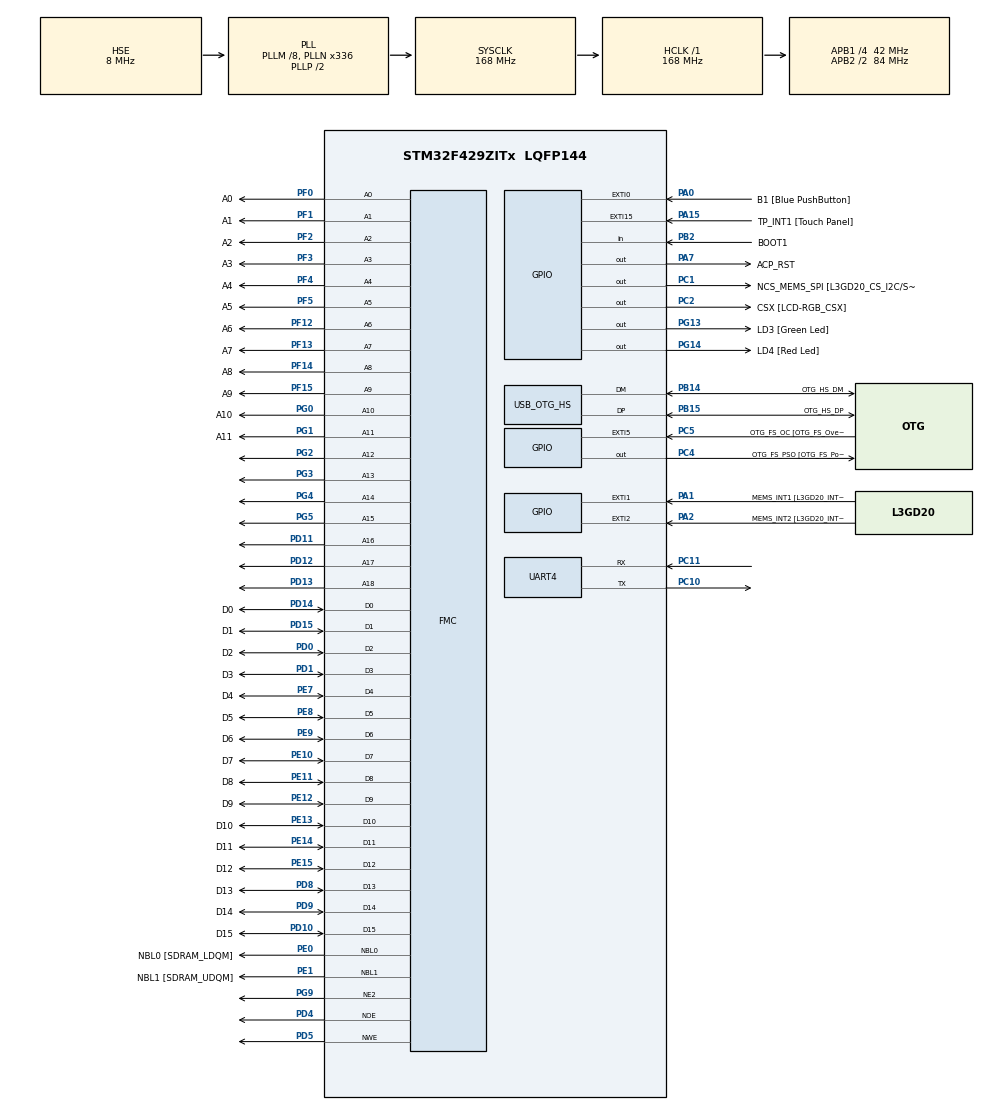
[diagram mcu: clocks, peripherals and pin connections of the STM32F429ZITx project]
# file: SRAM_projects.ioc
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FMC.WriteOperation1=FMC_WRITE_OPERATION_ENABLE
Mcu.Family=STM32F4
Mcu.Name=STM32F429ZITx
Mcu.Package=LQFP144
NVIC.OTG_HS_IRQn=true\:0\:0\:false\:false\:true\:false\:true
NVIC.PriorityGroup=NVIC_PRIORITYGROUP_0
NVIC.TIM2_IRQn=true\:0\:0\:false\:false\:true\:true\:true
NVIC.UART4_IRQn=true\:0\:0\:false\:false\:true\:true\:true
PA0/WKUP.GPIO_Label=B1 [Blue PushButton]
PA0/WKUP.GPIO_ModeDefaultEXTI=GPIO_MODE_EVT_RISING
PA0/WKUP.GPIO_PuPd=GPIO_NOPULL
PA0/WKUP.Signal=GPXTI0
PA1.GPIO_Label=MEMS_INT1 [L3GD20_INT1]
PA1.GPIO_ModeDefaultEXTI=GPIO_MODE_EVT_RISING
PA1.GPIO_PuPd=GPIO_NOPULL
PA1.Signal=GPXTI1
PA10.GPIO_Label=STLINK_TX [STM32F103CBT6_PA2]
PA10.Signal=USART1_RX
PA11.GPIO_Label=R4
PA11.GPIO_Mode=GPIO_MODE_AF_PP
PA11.GPIO_PuPd=GPIO_NOPULL
PA11.GPIO_Speed=GPIO_SPEED_FREQ_LOW
PA11.Signal=LTDC_R4
PA12.GPIO_Label=R5
PA12.GPIO_Mode=GPIO_MODE_AF_PP
PA12.GPIO_PuPd=GPIO_NOPULL
PA12.GPIO_Speed=GPIO_SPEED_FREQ_LOW
PA12.Signal=LTDC_R5
PA13.GPIO_Label=SWDIO
PA13.Mode=Serial_Wire
PA13.Signal=SYS_JTMS-SWDIO
PA14.GPIO_Label=SWCLK
PA14.Mode=Serial_Wire
PA14.Signal=SYS_JTCK-SWCLK
PA15.GPIO_Label=TP_INT1 [Touch Panel]
PA15.GPIO_ModeDefaultEXTI=GPIO_MODE_EVT_RISING
PA15.GPIO_PuPd=GPIO_NOPULL
PA15.Signal=GPXTI15
PA2.GPIO_Label=MEMS_INT2 [L3GD20_INT2]
PA2.GPIO_ModeDefaultEXTI=GPIO_MODE_EVT_RISING
PA2.GPIO_PuPd=GPIO_NOPULL
PA2.Signal=GPXTI2
PA3.GPIO_Label=B5
PA3.GPIO_Mode=GPIO_MODE_AF_PP
PA3.GPIO_PuPd=GPIO_NOPULL
PA3.GPIO_Speed=GPIO_SPEED_FREQ_LOW
PA3.Signal=LTDC_B5
PA4.GPIO_Label=VSYNC
PA4.GPIO_Mode=GPIO_MODE_AF_PP
PA4.GPIO_PuPd=GPIO_NOPULL
PA4.GPIO_Speed=GPIO_SPEED_FREQ_LOW
PA4.Signal=LTDC_VSYNC
PA6.GPIO_Label=G2
PA6.GPIO_Mode=GPIO_MODE_AF_PP
PA6.GPIO_PuPd=GPIO_NOPULL
PA6.GPIO_Speed=GPIO_SPEED_FREQ_LOW
PA6.Signal=LTDC_G2
PA7.GPIO_Label=ACP_RST
PA7.GPIO_Mode=GPIO_MODE_OUTPUT_PP
PA7.GPIO_PuPd=GPIO_NOPULL
PA7.GPIO_Speed=GPIO_SPEED_FREQ_LOW
PA7.Signal=GPIO_Output
PA8.GPIO_Label=I2C3_SCL [ACP/RF_SCL]
PA8.GPIO_Mode=GPIO_MODE_AF_OD
PA8.GPIO_PuPd=GPIO_NOPULL
PA8.GPIO_Speed=GPIO_SPEED_FREQ_LOW
PA8.Signal=I2C3_SCL
PA9.GPIO_Label=STLINK_RX [STM32F103CBT6_PA3]
PA9.Signal=USART1_TX
PB0.GPIO_Label=R3
PB0.GPIO_Mode=GPIO_MODE_AF_PP
PB0.GPIO_PuPd=GPIO_NOPULL
PB0.GPIO_Speed=GPIO_SPEED_FREQ_LOW
PB0.Signal=LTDC_R3
PB1.GPIO_Label=R6
PB1.GPIO_Mode=GPIO_MODE_AF_PP
PB1.GPIO_PuPd=GPIO_NOPULL
PB1.GPIO_Speed=GPIO_SPEED_FREQ_LOW
PB1.Signal=LTDC_R6
PB10.GPIO_Label=G4
PB10.GPIO_Mode=GPIO_MODE_AF_PP
PB10.GPIO_PuPd=GPIO_NOPULL
PB10.GPIO_Speed=GPIO_SPEED_FREQ_LOW
PB10.Signal=LTDC_G4
PB11.GPIO_Label=G5
PB11.GPIO_Mode=GPIO_MODE_AF_PP
PB11.GPIO_PuPd=GPIO_NOPULL
PB11.GPIO_Speed=GPIO_SPEED_FREQ_LOW
PB11.Signal=LTDC_G5
PB12.GPIO_Label=OTG_HS_ID
PB12.GPIO_Mode=GPIO_MODE_AF_PP
PB12.GPIO_PuPd=GPIO_NOPULL
PB12.GPIO_Speed=GPIO_SPEED_FREQ_LOW
PB12.Signal=USB_OTG_HS_ID
PB13.GPIO_Label=VBUS_HS
PB13.GPIO_Mode=GPIO_MODE_INPUT
PB13.GPIO_PuPd=GPIO_NOPULL
PB13.Signal=USB_OTG_HS_VBUS
PB14.GPIO_Label=OTG_HS_DM
PB14.GPIO_Mode=GPIO_MODE_AF_PP
PB14.GPIO_PuPd=GPIO_NOPULL
PB14.GPIO_Speed=GPIO_SPEED_FREQ_LOW
PB14.Mode=Device_Only_FS
PB14.Signal=USB_OTG_HS_DM
PB15.GPIO_Label=OTG_HS_DP
PB15.GPIO_Mode=GPIO_MODE_AF_PP
PB15.GPIO_PuPd=GPIO_NOPULL
PB15.GPIO_Speed=GPIO_SPEED_FREQ_LOW
PB15.Mode=Device_Only_FS
PB15.Signal=USB_OTG_HS_DP
PB2/BOOT1.GPIO_Label=BOOT1
PB2/BOOT1.GPIO_Mode=GPIO_MODE_INPUT
PB2/BOOT1.GPIO_PuPd=GPIO_NOPULL
PB2/BOOT1.Signal=GPIO_Input
PB5.GPIO_Label=SDCKE1
PB5.GPIO_Mode=GPIO_MODE_AF_PP
PB5.GPIO_PuPd=GPIO_NOPULL
PB5.GPIO_Speed=GPIO_SPEED_FREQ_VERY_HIGH
PB5.Signal=FMC_SDCKE1
PB6.GPIO_Label=SDNE1 [SDRAM_CS]
PB6.GPIO_Mode=GPIO_MODE_AF_PP
PB6.GPIO_PuPd=GPIO_NOPULL
PB6.GPIO_Speed=GPIO_SPEED_FREQ_VERY_HIGH
PB6.Signal=FMC_SDNE1
PB8.GPIO_Label=B6
PB8.GPIO_Mode=GPIO_MODE_AF_PP
PB8.GPIO_PuPd=GPIO_NOPULL
PB8.GPIO_Speed=GPIO_SPEED_FREQ_LOW
PB8.Signal=LTDC_B6
PB9.GPIO_Label=B7
PB9.GPIO_Mode=GPIO_MODE_AF_PP
PB9.GPIO_PuPd=GPIO_NOPULL
PB9.GPIO_Speed=GPIO_SPEED_FREQ_LOW
PB9.Signal=LTDC_B7
PC0.GPIO_Label=SDNWE
PC0.GPIO_Mode=GPIO_MODE_AF_PP
PC0.GPIO_PuPd=GPIO_NOPULL
PC0.GPIO_Speed=GPIO_SPEED_FREQ_VERY_HIGH
PC0.Signal=FMC_SDNWE
PC1.GPIO_Label=NCS_MEMS_SPI [L3GD20_CS_I2C/SPI]
PC1.GPIO_Mode=GPIO_MODE_OUTPUT_PP
PC1.GPIO_PuPd=GPIO_NOPULL
PC1.GPIO_Speed=GPIO_SPEED_FREQ_LOW
PC1.Signal=GPIO_Output
PC10.Mode=Asynchronous
PC10.Signal=UART4_TX
PC11.Mode=Asynchronous
PC11.Signal=UART4_RX
PC14/OSC32_IN.GPIO_Label=PC14-OSC32_IN
PC14/OSC32_IN.Signal=RCC_OSC32_IN
PC15/OSC32_OUT.GPIO_Label=PC15-OSC32_OUT
PC15/OSC32_OUT.Signal=RCC_OSC32_OUT
PC2.GPIO_Label=CSX [LCD-RGB_CSX]
PC2.GPIO_Mode=GPIO_MODE_OUTPUT_PP
PC2.GPIO_PuPd=GPIO_NOPULL
PC2.GPIO_Speed=GPIO_SPEED_FREQ_LOW
PC2.Signal=GPIO_Output
PC4.GPIO_Label=OTG_FS_PSO [OTG_FS_PowerSwitchOn]
PC4.GPIO_Mode=GPIO_MODE_OUTPUT_PP
PC4.GPIO_PuPd=GPIO_NOPULL
PC4.GPIO_Speed=GPIO_SPEED_FREQ_LOW
PC4.Signal=GPIO_Output
PC5.GPIO_Label=OTG_FS_OC [OTG_FS_OverCurrent]
PC5.GPIO_ModeDefaultEXTI=GPIO_MODE_EVT_RISING
PC5.Signal=GPXTI5
PC6.GPIO_Label=HSYNC
PC6.GPIO_Mode=GPIO_MODE_AF_PP
PC6.GPIO_PuPd=GPIO_NOPULL
PC6.GPIO_Speed=GPIO_SPEED_FREQ_LOW
PC6.Signal=LTDC_HSYNC
PC7.GPIO_Label=G6
PC7.GPIO_Mode=GPIO_MODE_AF_PP
PC7.GPIO_PuPd=GPIO_NOPULL
PC7.GPIO_Speed=GPIO_SPEED_FREQ_LOW
PC7.Signal=LTDC_G6
PC9.GPIO_Label=I2C3_SDA [ACP/RF_SDA]
PC9.GPIO_Mode=GPIO_MODE_AF_OD
PC9.GPIO_PuPd=GPIO_NOPULL
PC9.GPIO_Speed=GPIO_SPEED_FREQ_LOW
PC9.Signal=I2C3_SDA
PD0.GPIO_Label=D2
PD0.GPIO_Mode=GPIO_MODE_AF_PP
PD0.GPIO_PuPd=GPIO_PULLUP
PD0.GPIO_Speed=GPIO_SPEED_FREQ_VERY_HIGH
PD0.Signal=FMC_D2_DA2
PD1.GPIO_Label=D3
PD1.GPIO_Mode=GPIO_MODE_AF_PP
PD1.GPIO_PuPd=GPIO_PULLUP
PD1.GPIO_Speed=GPIO_SPEED_FREQ_VERY_HIGH
PD1.Signal=FMC_D3_DA3
PD10.GPIO_Label=D15
PD10.GPIO_Mode=GPIO_MODE_AF_PP
PD10.GPIO_PuPd=GPIO_PULLUP
PD10.GPIO_Speed=GPIO_SPEED_FREQ_VERY_HIGH
PD10.Signal=FMC_D15_DA15
PD11.GPIO_PuPd=GPIO_PULLUP
PD11.Signal=FMC_A16_CLE
PD12.GPIO_PuPd=GPIO_PULLUP
PD12.Signal=FMC_A17_ALE
PD13.GPIO_PuPd=GPIO_PULLUP
PD13.Signal=FMC_A18
PD14.GPIO_Label=D0
PD14.GPIO_Mode=GPIO_MODE_AF_PP
PD14.GPIO_PuPd=GPIO_PULLUP
PD14.GPIO_Speed=GPIO_SPEED_FREQ_VERY_HIGH
PD14.Signal=FMC_D0_DA0
PD15.GPIO_Label=D1
PD15.GPIO_Mode=GPIO_MODE_AF_PP
PD15.GPIO_PuPd=GPIO_PULLUP
PD15.GPIO_Speed=GPIO_SPEED_FREQ_VERY_HIGH
PD15.Signal=FMC_D1_DA1
PD3.GPIO_Label=G7
PD3.GPIO_Mode=GPIO_MODE_AF_PP
PD3.GPIO_PuPd=GPIO_NOPULL
PD3.GPIO_Speed=GPIO_SPEED_FREQ_LOW
PD3.Signal=LTDC_G7
PD4.GPIO_PuPd=GPIO_PULLUP
PD4.Signal=FMC_NOE
PD5.GPIO_PuPd=GPIO_PULLUP
PD5.Signal=FMC_NWE
PD6.GPIO_Label=B2
PD6.GPIO_Mode=GPIO_MODE_AF_PP
PD6.GPIO_PuPd=GPIO_NOPULL
PD6.GPIO_Speed=GPIO_SPEED_FREQ_LOW
PD6.Signal=LTDC_B2
PD8.GPIO_Label=D13
PD8.GPIO_Mode=GPIO_MODE_AF_PP
PD8.GPIO_PuPd=GPIO_PULLUP
PD8.GPIO_Speed=GPIO_SPEED_FREQ_VERY_HIGH
PD8.Signal=FMC_D13_DA13
PD9.GPIO_Label=D14
PD9.GPIO_Mode=GPIO_MODE_AF_PP
PD9.GPIO_PuPd=GPIO_PULLUP
PD9.GPIO_Speed=GPIO_SPEED_FREQ_VERY_HIGH
PD9.Signal=FMC_D14_DA14
PE0.GPIO_Label=NBL0 [SDRAM_LDQM]
PE0.GPIO_Mode=GPIO_MODE_AF_PP
PE0.GPIO_PuPd=GPIO_NOPULL
PE0.GPIO_Speed=GPIO_SPEED_FREQ_VERY_HIGH
PE0.Signal=FMC_NBL0
PE1.GPIO_Label=NBL1 [SDRAM_UDQM]
PE1.GPIO_Mode=GPIO_MODE_AF_PP
PE1.GPIO_PuPd=GPIO_NOPULL
PE1.GPIO_Speed=GPIO_SPEED_FREQ_VERY_HIGH
PE1.Signal=FMC_NBL1
PE10.GPIO_Label=D7
PE10.GPIO_Mode=GPIO_MODE_AF_PP
PE10.GPIO_PuPd=GPIO_PULLUP
PE10.GPIO_Speed=GPIO_SPEED_FREQ_VERY_HIGH
PE10.Signal=FMC_D7_DA7
PE11.GPIO_Label=D8
PE11.GPIO_Mode=GPIO_MODE_AF_PP
PE11.GPIO_PuPd=GPIO_PULLUP
PE11.GPIO_Speed=GPIO_SPEED_FREQ_VERY_HIGH
PE11.Signal=FMC_D8_DA8
PE12.GPIO_Label=D9
PE12.GPIO_Mode=GPIO_MODE_AF_PP
PE12.GPIO_PuPd=GPIO_PULLUP
PE12.GPIO_Speed=GPIO_SPEED_FREQ_VERY_HIGH
PE12.Signal=FMC_D9_DA9
PE13.GPIO_Label=D10
PE13.GPIO_Mode=GPIO_MODE_AF_PP
PE13.GPIO_PuPd=GPIO_PULLUP
PE13.GPIO_Speed=GPIO_SPEED_FREQ_VERY_HIGH
PE13.Signal=FMC_D10_DA10
PE14.GPIO_Label=D11
PE14.GPIO_Mode=GPIO_MODE_AF_PP
PE14.GPIO_PuPd=GPIO_PULLUP
PE14.GPIO_Speed=GPIO_SPEED_FREQ_VERY_HIGH
PE14.Signal=FMC_D11_DA11
PE15.GPIO_Label=D12
PE15.GPIO_Mode=GPIO_MODE_AF_PP
PE15.GPIO_PuPd=GPIO_PULLUP
PE15.GPIO_Speed=GPIO_SPEED_FREQ_VERY_HIGH
PE15.Signal=FMC_D12_DA12
PE7.GPIO_Label=D4
PE7.GPIO_Mode=GPIO_MODE_AF_PP
PE7.GPIO_PuPd=GPIO_PULLUP
PE7.GPIO_Speed=GPIO_SPEED_FREQ_VERY_HIGH
PE7.Signal=FMC_D4_DA4
PE8.GPIO_Label=D5
PE8.GPIO_Mode=GPIO_MODE_AF_PP
PE8.GPIO_PuPd=GPIO_PULLUP
PE8.GPIO_Speed=GPIO_SPEED_FREQ_VERY_HIGH
PE8.Signal=FMC_D5_DA5
PE9.GPIO_Label=D6
PE9.GPIO_Mode=GPIO_MODE_AF_PP
PE9.GPIO_PuPd=GPIO_PULLUP
PE9.GPIO_Speed=GPIO_SPEED_FREQ_VERY_HIGH
PE9.Signal=FMC_D6_DA6
PF0.GPIO_Label=A0
PF0.GPIO_Mode=GPIO_MODE_AF_PP
PF0.GPIO_PuPd=GPIO_PULLUP
PF0.GPIO_Speed=GPIO_SPEED_FREQ_VERY_HIGH
PF0.Signal=FMC_A0
PF1.GPIO_Label=A1
PF1.GPIO_Mode=GPIO_MODE_AF_PP
PF1.GPIO_PuPd=GPIO_PULLUP
PF1.GPIO_Speed=GPIO_SPEED_FREQ_VERY_HIGH
PF1.Signal=FMC_A1
PF10.GPIO_Label=ENABLE [LCD-RGB_ENABLE]
PF10.GPIO_Mode=GPIO_MODE_AF_PP
PF10.GPIO_PuPd=GPIO_NOPULL
PF10.GPIO_Speed=GPIO_SPEED_FREQ_LOW
PF10.Signal=LTDC_DE
PF11.GPIO_Label=SDNRAS
PF11.GPIO_Mode=GPIO_MODE_AF_PP
PF11.GPIO_PuPd=GPIO_NOPULL
PF11.GPIO_Speed=GPIO_SPEED_FREQ_VERY_HIGH
PF11.Signal=FMC_SDNRAS
PF12.GPIO_Label=A6
PF12.GPIO_Mode=GPIO_MODE_AF_PP
PF12.GPIO_PuPd=GPIO_PULLUP
PF12.GPIO_Speed=GPIO_SPEED_FREQ_VERY_HIGH
PF12.Signal=FMC_A6
PF13.GPIO_Label=A7
PF13.GPIO_Mode=GPIO_MODE_AF_PP
PF13.GPIO_PuPd=GPIO_PULLUP
PF13.GPIO_Speed=GPIO_SPEED_FREQ_VERY_HIGH
PF13.Signal=FMC_A7
PF14.GPIO_Label=A8
PF14.GPIO_Mode=GPIO_MODE_AF_PP
PF14.GPIO_PuPd=GPIO_PULLUP
PF14.GPIO_Speed=GPIO_SPEED_FREQ_VERY_HIGH
PF14.Signal=FMC_A8
PF15.GPIO_Label=A9
PF15.GPIO_Mode=GPIO_MODE_AF_PP
PF15.GPIO_PuPd=GPIO_PULLUP
PF15.GPIO_Speed=GPIO_SPEED_FREQ_VERY_HIGH
PF15.Signal=FMC_A9
PF2.GPIO_Label=A2
PF2.GPIO_Mode=GPIO_MODE_AF_PP
PF2.GPIO_PuPd=GPIO_PULLUP
PF2.GPIO_Speed=GPIO_SPEED_FREQ_VERY_HIGH
PF2.Signal=FMC_A2
PF3.GPIO_Label=A3
PF3.GPIO_Mode=GPIO_MODE_AF_PP
PF3.GPIO_PuPd=GPIO_PULLUP
PF3.GPIO_Speed=GPIO_SPEED_FREQ_VERY_HIGH
PF3.Signal=FMC_A3
PF4.GPIO_Label=A4
PF4.GPIO_Mode=GPIO_MODE_AF_PP
PF4.GPIO_PuPd=GPIO_PULLUP
PF4.GPIO_Speed=GPIO_SPEED_FREQ_VERY_HIGH
PF4.Signal=FMC_A4
PF5.GPIO_Label=A5
PF5.GPIO_Mode=GPIO_MODE_AF_PP
PF5.GPIO_PuPd=GPIO_PULLUP
PF5.GPIO_Speed=GPIO_SPEED_FREQ_VERY_HIGH
PF5.Signal=FMC_A5
PF7.GPIO_Label=SPI5_SCK [L3GD20_SCL/SPC]
PF7.GPIO_Mode=GPIO_MODE_AF_PP
PF7.GPIO_PuPd=GPIO_NOPULL
PF7.GPIO_Speed=GPIO_SPEED_FREQ_LOW
PF7.Signal=SPI5_SCK
PF8.GPIO_Label=SPI5_MISO [L3GD20_SDO]
PF8.GPIO_Mode=GPIO_MODE_AF_PP
PF8.GPIO_PuPd=GPIO_NOPULL
PF8.GPIO_Speed=GPIO_SPEED_FREQ_LOW
PF8.Signal=SPI5_MISO
PF9.GPIO_Label=SPI5_MOSI [L3GD20_SDA/SDI/SDO]
PF9.GPIO_Mode=GPIO_MODE_AF_PP
PF9.GPIO_PuPd=GPIO_NOPULL
PF9.GPIO_Speed=GPIO_SPEED_FREQ_LOW
PF9.Signal=SPI5_MOSI
PG0.GPIO_Label=A10
PG0.GPIO_Mode=GPIO_MODE_AF_PP
PG0.GPIO_PuPd=GPIO_PULLUP
PG0.GPIO_Speed=GPIO_SPEED_FREQ_VERY_HIGH
PG0.Signal=FMC_A10
PG1.GPIO_Label=A11
PG1.GPIO_Mode=GPIO_MODE_AF_PP
PG1.GPIO_PuPd=GPIO_PULLUP
PG1.GPIO_Speed=GPIO_SPEED_FREQ_VERY_HIGH
PG1.Signal=FMC_A11
PG10.GPIO_Label=G3
PG10.GPIO_Mode=GPIO_MODE_AF_PP
PG10.GPIO_PuPd=GPIO_NOPULL
PG10.GPIO_Speed=GPIO_SPEED_FREQ_LOW
PG10.Signal=LTDC_G3
PG11.GPIO_Label=B3
PG11.GPIO_Mode=GPIO_MODE_AF_PP
PG11.GPIO_PuPd=GPIO_NOPULL
PG11.GPIO_Speed=GPIO_SPEED_FREQ_LOW
PG11.Signal=LTDC_B3
PG12.GPIO_Label=B4
PG12.GPIO_Mode=GPIO_MODE_AF_PP
PG12.GPIO_PuPd=GPIO_NOPULL
PG12.GPIO_Speed=GPIO_SPEED_FREQ_LOW
PG12.Signal=LTDC_B4
PG13.GPIO_Label=LD3 [Green Led]
PG13.GPIO_Mode=GPIO_MODE_OUTPUT_PP
PG13.GPIO_PuPd=GPIO_NOPULL
PG13.GPIO_Speed=GPIO_SPEED_FREQ_LOW
PG13.Signal=GPIO_Output
PG14.GPIO_Label=LD4 [Red Led]
PG14.GPIO_Mode=GPIO_MODE_OUTPUT_PP
PG14.GPIO_PuPd=GPIO_NOPULL
PG14.GPIO_Speed=GPIO_SPEED_FREQ_LOW
PG14.Signal=GPIO_Output
PG15.GPIO_Label=SDNCAS
PG15.GPIO_Mode=GPIO_MODE_AF_PP
PG15.GPIO_PuPd=GPIO_NOPULL
PG15.GPIO_Speed=GPIO_SPEED_FREQ_VERY_HIGH
PG15.Signal=FMC_SDNCAS
PG2.GPIO_PuPd=GPIO_PULLUP
PG2.Signal=FMC_A12
PG3.GPIO_PuPd=GPIO_PULLUP
PG3.Signal=FMC_A13
PG4.GPIO_PuPd=GPIO_PULLUP
PG4.Signal=FMC_A14_BA0
PG5.GPIO_PuPd=GPIO_PULLUP
PG5.Signal=FMC_A15_BA1
PG6.GPIO_Label=R7
PG6.GPIO_Mode=GPIO_MODE_AF_PP
PG6.GPIO_PuPd=GPIO_NOPULL
PG6.GPIO_Speed=GPIO_SPEED_FREQ_LOW
PG6.Signal=LTDC_R7
PG7.GPIO_Label=DOTCLK [LCT-RGB_DOTCLK]
PG7.GPIO_Mode=GPIO_MODE_AF_PP
PG7.GPIO_PuPd=GPIO_NOPULL
PG7.GPIO_Speed=GPIO_SPEED_FREQ_LOW
PG7.Signal=LTDC_CLK
PG8.GPIO_Label=SDCLK
PG8.GPIO_Mode=GPIO_MODE_AF_PP
PG8.GPIO_PuPd=GPIO_NOPULL
PG8.GPIO_Speed=GPIO_SPEED_FREQ_VERY_HIGH
PG8.Signal=FMC_SDCLK
PG9.GPIO_PuPd=GPIO_PULLUP
PG9.Mode=NorPsramChipSelect2_1
PG9.Signal=FMC_NE2
PH0/OSC_IN.GPIO_Label=PH0-OSC_IN
PH0/OSC_IN.Mode=HSE-External-Oscillator
PH0/OSC_IN.Signal=RCC_OSC_IN
PH1/OSC_OUT.GPIO_Label=PH1-OSC_OUT
PH1/OSC_OUT.Mode=HSE-External-Oscillator
PH1/OSC_OUT.Signal=RCC_OSC_OUT
ProjectManager.HeapSize=0x200
ProjectManager.StackSize=0x400
ProjectManager.TargetToolchain=MDK-ARM V5.27
RCC.48MHZClocksFreq_Value=48000000
RCC.AHBFreq_Value=168000000
RCC.APB1CLKDivider=RCC_HCLK_DIV4
RCC.APB1Freq_Value=42000000
RCC.APB1TimFreq_Value=84000000
RCC.APB2CLKDivider=RCC_HCLK_DIV2
RCC.APB2Freq_Value=84000000
RCC.APB2TimFreq_Value=168000000
RCC.CortexFreq_Value=168000000
RCC.HCLKFreq_Value=168000000
RCC.HSE_VALUE=8000000
RCC.HSI_VALUE=16000000
RCC.LSE_VALUE=32768
RCC.PLLM=8
RCC.PLLN=336
RCC.PLLQ=7
RCC.SYSCLKFreq_VALUE=168000000
RCC.SYSCLKSource=RCC_SYSCLKSOURCE_PLLCLK
RCC.VCOOutputFreq_Value=336000000
SH.FMC_A0.0=FMC_A0,19b-a1
SH.FMC_A1.0=FMC_A1,19b-a1
SH.FMC_A10.0=FMC_A10,19b-a1
SH.FMC_A11.0=FMC_A11,19b-a1
SH.FMC_A12.0=FMC_A12,19b-a1
SH.FMC_A13.0=FMC_A13,19b-a1
SH.FMC_A14_BA0.0=FMC_BA0
SH.FMC_A14_BA0.1=FMC_A14,19b-a1
SH.FMC_A15_BA1.0=FMC_BA1
SH.FMC_A15_BA1.1=FMC_A15,19b-a1
SH.FMC_A16_CLE.0=FMC_A16,19b-a1
SH.FMC_A17_ALE.0=FMC_A17,19b-a1
SH.FMC_A18.0=FMC_A18,19b-a1
SH.FMC_A2.0=FMC_A2,19b-a1
SH.FMC_A3.0=FMC_A3,19b-a1
SH.FMC_A4.0=FMC_A4,19b-a1
SH.FMC_A5.0=FMC_A5,19b-a1
SH.FMC_A6.0=FMC_A6,19b-a1
SH.FMC_A7.0=FMC_A7,19b-a1
SH.FMC_A8.0=FMC_A8,19b-a1
SH.FMC_A9.0=FMC_A9,19b-a1
SH.FMC_D0_DA0.0=FMC_D0,16b-d1
SH.FMC_D10_DA10.0=FMC_D10,16b-d1
SH.FMC_D11_DA11.0=FMC_D11,16b-d1
SH.FMC_D12_DA12.0=FMC_D12,16b-d1
SH.FMC_D13_DA13.0=FMC_D13,16b-d1
SH.FMC_D14_DA14.0=FMC_D14,16b-d1
SH.FMC_D15_DA15.0=FMC_D15,16b-d1
SH.FMC_D1_DA1.0=FMC_D1,16b-d1
SH.FMC_D2_DA2.0=FMC_D2,16b-d1
SH.FMC_D3_DA3.0=FMC_D3,16b-d1
SH.FMC_D4_DA4.0=FMC_D4,16b-d1
SH.FMC_D5_DA5.0=FMC_D5,16b-d1
SH.FMC_D6_DA6.0=FMC_D6,16b-d1
SH.FMC_D7_DA7.0=FMC_D7,16b-d1
SH.FMC_D8_DA8.0=FMC_D8,16b-d1
SH.FMC_D9_DA9.0=FMC_D9,16b-d1
SH.FMC_NBL0.0=FMC_NBL0,2ByteEnable1
SH.FMC_NBL1.0=FMC_NBL1,2ByteEnable1
SH.FMC_NOE.0=FMC_NOE,Sram1
SH.FMC_NWE.0=FMC_NWE,Sram1
SH.FMC_SDCLK.0=FMC_SDCLK
SH.FMC_SDNCAS.0=FMC_SDNCAS
SH.FMC_SDNRAS.0=FMC_SDNRAS
SH.FMC_SDNWE.0=FMC_SDNWE
TIM2.Period=100000
TIM2.Prescaler=16000
UART4.VirtualMode=Asynchronous
USB_DEVICE.CLASS_NAME_HS=CDC
USB_DEVICE.VirtualMode-CDC_HS=Cdc
USB_DEVICE.VirtualModeHS=Cdc_HS
USB_OTG_HS.VirtualMode-Device_Only_FS=Device_Only_FS
VP_TIM2_VS_ClockSourceINT.Mode=Internal
VP_USB_DEVICE_VS_USB_DEVICE_CDC_HS.Mode=CDC_HS
board=32F429IDISCOVERY

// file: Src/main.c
/* USER CODE BEGIN Header */
/**
  ******************************************************************************
  * @file           : main.c
  * @brief          : Main program body
  ******************************************************************************
  * @attention
  *
  * <h2><center>&copy; Copyright (c) 2020 STMicroelectronics.
  * All rights reserved.</center></h2>
  *
  * This software component is licensed by ST under Ultimate Liberty license
  * SLA0044, the "License"; You may not use this file except in compliance with
  * the License. You may obtain a copy of the License at:
  *                             www.st.com/SLA0044
  *
  ******************************************************************************
  */
/* USER CODE END Header */

#include "main.h"
#include "tim.h"
#include "usart.h"
#include "usb_device.h"
#include "gpio.h"
#include "fmc.h"

/* USER CODE BEGIN Includes */
#include <stdio.h>  //printf
#include <string.h>
#include <time.h>
/* USER CODE END Includes */

/* USER CODE BEGIN PTD */
#ifdef __GNUC__
  /* With GCC, small printf (option LD Linker->Libraries->Small printf
     set to 'Yes') calls __io_putchar() */
  #define PUTCHAR_PROTOTYPE int __io_putchar(int ch)
#else
  #define PUTCHAR_PROTOTYPE int fputc(int ch, FILE *f)
#endif /* __GNUC__ */

/* USER CODE END PTD */

/* USER CODE BEGIN PD */

	typedef enum {
	FAILED = 0,
	PASSED = !FAILED
} TestStatus; // Typedef for correct read/write tests

#define SRAM_BANK_ADDR		((uint32_t)0x64000000)		// We use Bank 3, Block 2, thus FMC_NE2 and 0x64000000
//#define SRAM_SIZE			((uint32_t)0x1000)
#define SRAM_SIZE			((uint32_t)0x40000) 		// AS7C34098A has 2^18 address indices
//#define SRAM_SIZE			((uint32_t)0x80000) 		// Cypress CY62157EV30 has 2^19 address indices
//#define SRAM_SIZE			((uint32_t)0x100000) 		// 2^20 address indices
#define BUFFER_SIZE			100							// buffer size for the global string buffer
#define SRAM_BUFFER_SIZE	40960						// buffer size for the sram buffer
#define COMMAND_COUNT		15

	uint32_t sram_start = SRAM_BANK_ADDR;
	//uint32_t sram_end = 0x64040000;
	uint32_t sram_end = SRAM_BANK_ADDR + SRAM_SIZE;
	//uint32_t SRAM_SIZE = (uint32_t)sram_end - (uint32_t)sram_start;

/* USER CODE END PD */

	int expression;
	int counter;
	clock_t tic = 0;
	clock_t toc = 0;

	//uint32_t sram_start = 0x64000000;
	//uint32_t sram_end = 0x64800000;
	//uint32_t sram_end = (uint32_t)sram_start - (uint32_t)SRAM_SIZE;   //2^19 (1mb)
	//uint32_t SRAM_SIZE = (uint32_t)sram_end - (uint32_t)sram_start;
	uint32_t *ptr = (uint32_t *)SRAM_BANK_ADDR;
	//uint32_t sram_end = 0x64080000;   //2^19 (1mb)
	uint32_t zero = 0x00000000;
	uint32_t ones = 0xFFFFFFFF;
	uint32_t write = 0x12345678;

	uint32_t total_one;
	uint32_t total_zero;
	uint32_t flipped_one;
	uint32_t flipped_zero;

	uint32_t write_mode = 0xFFFFFFFF;
	uint32_t start_value = 0x0;
	uint32_t start_adr = 0x0;	// start address for writeSRAMRange
	uint32_t end_adr = 0x0;		// end address for writeSRAMRange

void SystemClock_Config(void);
/* USER CODE BEGIN PFP */
void write_all_zero(void);				//writes zero to entire memory location
void write_all_ones(void);				//writes ones to entire memory location
void write_all_12345678(void);		//writes 12345678 to entire memory location
void sram_read(void);									//reads entire memory location
void sram_read_1(void);						//latency_read
void SRAM_Get_Performance_Measures();
//void SRAM_Get_Values();
void write_all_zero_check(void);
//uint32_t hamming_weight_32b(uint32_t);
//uint16_t hamming_weight_16b(uint16_t);
//uint32_t SRAM_Read_32b(uint32_t adr);
void init_counter();
void init_arguments();
//uint16_t get_num_one_16b(uint16_t bitstring);
//uint16_t get_num_zero_16b(uint16_t bitstring);

void SRAM_Write_32b(uint32_t adr, uint32_t value);
void SRAM_Write_16b(uint32_t adr, uint16_t value);
uint16_t SRAM_Read_16b(uint32_t adr);
uint32_t SRAM_Read_32b(uint32_t adr);
void SRAM_Fill_With_Zeros();
void SRAM_Fill_With_Ones();
void SRAM_Get_Values();
uint16_t flipped_one_16b(uint16_t expected_value, uint16_t real_value);
uint16_t flipped_zero_16b(uint16_t expected_value, uint16_t real_value);
uint16_t get_num_one_16b(uint16_t bitstring);
uint16_t get_num_zero_16b(uint16_t bitstring);
uint16_t get_total_flip_probability_16b(uint16_t expected_value, uint16_t real_value);
uint16_t hamming_weight_16b(uint16_t bitstring);

/* USER CODE END PFP */

int main(void)
{

  /* MCU Configuration--------------------------------------------------------*/

  /* Reset of all peripherals, Initializes the Flash interface and the Systick. */
  HAL_Init();

  /* Configure the system clock */
  SystemClock_Config();

  /* Initialize all configured peripherals */
  MX_GPIO_Init();
  MX_FMC_Init();
  MX_UART4_Init();
  MX_USB_DEVICE_Init();
  MX_TIM2_Init();

  /* USER CODE BEGIN 2 */
  HAL_TIM_Base_Init(&htim2);
  HAL_TIM_Base_Start(&htim2);
  /* USER CODE END 2 */

	char address_setup_time[2];
	char data_setup_time[2];

	HAL_Delay(3000);

	printf("\n\rWelcome to sram PUF Experiments\r\n");
//	printf("\n\rEnter address_setup_time for SRAM FMC (00-99)\t:");
//	HAL_UART_Receive (&huart4,(uint8_t *)address_setup_time, 2, 30000);
//	printf("\n\rEnter data_setup_time for SRAM FMC (00-99)\t:");
//	HAL_UART_Receive (&huart4, (uint8_t *)data_setup_time, 2, 30000);
//
//
//	printf("\n\raddress setup time : %s",address_setup_time);
//	printf("\n\rdata setup time : %s\r\n",data_setup_time);
  /* Infinite loop */
  /* USER CODE BEGIN WHILE */

	//Non user interactive function

	//////print entire SRAM
	//printf("\r\nReading SRAM memory from %p to %p...\r\n",(uint32_t *)sram_start,(uint32_t *)sram_end);
	printf("\r\nReading SRAM memory\r\n");
	sram_read();
	printf("\r\nSRAM memory from %p to %p is read successfully... %d bit memory read\n\n\r",(uint32_t *)sram_start,(uint32_t *)sram_end,counter);
	//printf("\r\nSRAM read successfully... %d bit memory read\n\r",counter);

	//////calculate hamming weight
	//printf("\r\nCalculating SRAM zero and ones fr/om %p to %p...\r\n",(uint32_t *)sram_start,(uint32_t *)sram_end);
	SRAM_Get_Values();
	//printf("\r\nSRAM zero and ones from %p to %p is calculated successfully... \n\n\r",(uint32_t *)sram_start,(uint32_t *)sram_end);

	//////write to SRAM
	printf("\r\nSetting SRAM values to %x ...",(uint32_t)zero);
	//SRAM_Fill_With_Zeros();
	SRAM_Fill_With_Ones();
	//printf("\r\nValues in memory location from %p to %p is set to %x\n\n\r",(uint32_t *)sram_start,(uint32_t *)sram_end,(uint32_t)zero);
	//printf("\r\nDone...");

	//////calculate hamming weight
	//printf("\r\nCalculating SRAM zero and ones from %p to %p...\r\n",(uint32_t *)sram_start,(uint32_t *)sram_end);
	SRAM_Get_Values();
	//printf("\r\nSRAM zero and ones from %p to %p is calculated successfully... \n\n\r",(uint32_t *)sram_start,(uint32_t *)sram_end);

	//////stop string
	printf("\r\n~~~~~~~~~~~~~~~\r\n");

	/* while(1)
	{

	//int counter = 0;
	//uint32_t *ptr = (uint32_t *)0x60000000;
  //uint32_t write = 0x12345678;

  printf("\n\rSelect any of the function below\r\n");
	printf("\t1. Write zero (0x00000000) to entire memory location.\r\n");
	printf("\t2. Write ones (0xffffffff) to entire memory location.\r\n");
	printf("\t3. Write random numbers (0x12345678) to entire memory location.\r\n");
	printf("\t4. Read entire memory location...\r\n");
	printf("\t5. Read entire memory location(latency)...\r\n");
	printf("\t6. get performance...\r\n");
	printf("\t7. calculate zeros and ones(Hamming weight)...\r\n");
	printf("\t8. Write zero (0x00000000) to entire memory location and check.\r\n");

	//scanf("%d", &expression);
	uint8_t Rx_sram_function[1];		//array of input element
	HAL_UART_Receive (&huart4, Rx_sram_function, 1, 30000);
	//printf("\n\ryou have selected %s...\r\n",Rx_data);

	printf("\n\ryou have selected %s...\r\n",Rx_sram_function);

	for(int i=0;i<1;i++)		//user selection assign to an expression
	{
		expression = Rx_sram_function[i];
	}

	//printf("\n\ryou have selected %d...expression\r\n",expression);

	switch(expression)
		{
			case 49:		// write all zeros		//ASCII values
			{
				printf("\r\nSetting SRAM values to %x ...",(uint32_t)zero);
				//write_all_zero();
				SRAM_Fill_With_Zeros();
				printf("\r\nValues in memory location from %p to %p is set to %x\n\n\r",(uint32_t *)sram_start,(uint32_t *)sram_end,(uint32_t)zero);
				//printf("Elapsed: %f seconds\n", (double)(toc - tic) / CLOCKS_PER_SEC);
				//printf("\n\ryou have selected %d...write_all_zero\r\n",expression);
				break;
			}

			case 50:		// write all ones		//ASCII values
			{
				printf("\r\nSetting SRAM values to %x ...",(uint32_t)ones);
				//write_all_ones();
				SRAM_Fill_With_Ones();
				printf("\r\nValues in memory location from %p to %p is set to %x\n\n\r",(uint32_t *)sram_start,(uint32_t *)sram_end,(uint32_t)ones);
				//printf("Elapsed: %f seconds\n", (double)(toc - tic) / CLOCKS_PER_SEC);
				//printf("\n\ryou have selected %d...write_all_ones\r\n",expression);
				break;
			}

			case 51:		// write all 12345678		//ASCII values
			{
				printf("\r\nSetting SRAM values to %x ...",(uint32_t)write);
				write_all_12345678();
				printf("\r\nValues in memory location from %p to %p is set to %x\n\n\r",(uint32_t *)sram_start,(uint32_t *)sram_end,(uint32_t)write);
				//printf("Elapsed: %f seconds\n", (double)(toc - tic) / CLOCKS_PER_SEC);
				//printf("\n\ryou have selected %d...write_all_12345678\r\n",expression);
				break;
			}

			case 52:		// Read entire SRAM		//ASCII values
			{
				printf("\r\nReading SRAM memory from %p to %p...\r\n",(uint32_t *)sram_start,(uint32_t *)sram_end);
				sram_read();
				printf("\r\nSRAM memory from %p to %p is read successfully... %d bit memory read\n\n\r",(uint32_t *)sram_start,(uint32_t *)sram_end,counter);
				//printf("Elapsed: %f seconds\n", (double)(toc - tic) / CLOCKS_PER_SEC);
				//printf("\n\ryou have selected %d...Read entire SRAM\r\n",expression);
				break;
			}

			case 53:		// Read entire SRAM_latency		//ASCII values
			{
				printf("\r\nReading SRAM memory from %p to %p...\r\n",(uint32_t *)sram_start,(uint32_t *)sram_end);
				sram_read_1();
				printf("\r\nSRAM memory from %p to %p is read successfully... %d bit memory read\n\n\r",(uint32_t *)sram_start,(uint32_t *)sram_end,counter);
				//printf("Elapsed: %f seconds\n", (double)(toc - tic) / CLOCKS_PER_SEC);
				//printf("\n\ryou have selected %d...Read entire SRAM\r\n",expression);
				break;
			}

			case 54:		// SRAM performance		//ASCII values
			{
				printf("\r\nCalculating SRAM performance from %p to %p...\r\n",(uint32_t *)sram_start,(uint32_t *)sram_end);
				SRAM_Get_Performance_Measures();
				printf("\r\nSRAM performance from %p to %p is calculated successfully... \n\n\r",(uint32_t *)sram_start,(uint32_t *)sram_end);
				//printf("Elapsed: %f seconds\n", (double)(toc - tic) / CLOCKS_PER_SEC);
				//printf("\n\ryou have selected %d...Read entire SRAM\r\n",expression);
				break;
			}

			case 55:		// get sram values		//ASCII values
			{
				printf("\r\nCalculating SRAM zero and ones from %p to %p...\r\n",(uint32_t *)sram_start,(uint32_t *)sram_end);
				SRAM_Get_Values();
				printf("\r\nSRAM zero and ones from %p to %p is calculated successfully... \n\n\r",(uint32_t *)sram_start,(uint32_t *)sram_end);
				//printf("Elapsed: %f seconds\n", (double)(toc - tic) / CLOCKS_PER_SEC);
				//printf("\n\ryou have selected %d...Read entire SRAM\r\n",expression);
				break;
			}

			case 56:		// write all zeros		//ASCII values
			{
				printf("\r\nSetting SRAM values to %x ...",(uint32_t)zero);
				write_all_zero_check();
				printf("\r\nValues in memory location from %p to %p is set to %x\n\n\r",(uint32_t *)sram_start,(uint32_t *)sram_end,(uint32_t)zero);
				//printf("Elapsed: %f seconds\n", (double)(toc - tic) / CLOCKS_PER_SEC);
				//printf("\n\ryou have selected %d...write_all_zero\r\n",expression);
				break;
			}

			default:
			{
				printf("\n\rCommand not found...\r\nPlease select a valid function after reset...\r\n");
				break;
			}
		}

	}*/ //--commented this to create a non user interactive function

  /* USER CODE END 3 */
}

void SystemClock_Config(void)
{
  RCC_OscInitTypeDef RCC_OscInitStruct = {0};
  RCC_ClkInitTypeDef RCC_ClkInitStruct = {0};

  /** Configure the main internal regulator output voltage
  */
  __HAL_RCC_PWR_CLK_ENABLE();
  __HAL_PWR_VOLTAGESCALING_CONFIG(PWR_REGULATOR_VOLTAGE_SCALE1);
  /** Initializes the CPU, AHB and APB busses clocks
  */
  RCC_OscInitStruct.OscillatorType = RCC_OSCILLATORTYPE_HSE;
  RCC_OscInitStruct.HSEState = RCC_HSE_ON;
  RCC_OscInitStruct.PLL.PLLState = RCC_PLL_ON;
  RCC_OscInitStruct.PLL.PLLSource = RCC_PLLSOURCE_HSE;
  RCC_OscInitStruct.PLL.PLLM = 8;
  RCC_OscInitStruct.PLL.PLLN = 336;
  RCC_OscInitStruct.PLL.PLLP = RCC_PLLP_DIV2;
  RCC_OscInitStruct.PLL.PLLQ = 7;
  if (HAL_RCC_OscConfig(&RCC_OscInitStruct) != HAL_OK)
  {
    Error_Handler();
  }
  /** Initializes the CPU, AHB and APB busses clocks
  */
  RCC_ClkInitStruct.ClockType = RCC_CLOCKTYPE_HCLK|RCC_CLOCKTYPE_SYSCLK
                              |RCC_CLOCKTYPE_PCLK1|RCC_CLOCKTYPE_PCLK2;
  RCC_ClkInitStruct.SYSCLKSource = RCC_SYSCLKSOURCE_PLLCLK;
  RCC_ClkInitStruct.AHBCLKDivider = RCC_SYSCLK_DIV1;
  RCC_ClkInitStruct.APB1CLKDivider = RCC_HCLK_DIV4;
  RCC_ClkInitStruct.APB2CLKDivider = RCC_HCLK_DIV2;

  if (HAL_RCC_ClockConfig(&RCC_ClkInitStruct, FLASH_LATENCY_5) != HAL_OK)
  {
    Error_Handler();
  }
}

/* USER CODE BEGIN 4 */
PUTCHAR_PROTOTYPE
{
  /* Place your implementation of fputc here */
  /* e.g. write a character to the EVAL_COM1 and Loop until the end of transmission */
  HAL_UART_Transmit(&huart4, (uint8_t *)&ch, 1, 0xFFFF);

  return ch;
}

//2)//void HAL_UART_RxCpltCallback(UART_HandleTypeDef *huart)
//{
//  HAL_UART_Receive_IT(&huart4, Rx_data, 1);
//}

//1)//void receive(UART_HandleTypeDef *huart, uint8_t *dstBuffer, uint32_t bufferSize){
//	HAL_UART_Receive_IT(huart, dstBuffer, bufferSize);
//	HAL_Delay(10);
//}

void write_all_zero(void)  	//writes zero to entire memory location
{
	//uint32_t *ptr = (uint32_t *)0x64000000;
  //uint32_t zero = 0x00000000;
	//tic = clock();
	write_mode = 1;
	uint32_t now = HAL_GetTick();
	for(ptr=(uint32_t *)sram_start; ptr < (uint32_t *)sram_end; ptr++ )
  {
		*ptr = zero;
  }
	uint32_t then = HAL_GetTick();
	printf("\r\ninterrupt 1:%f ms",(double)now);
	printf("\r\ninterrupt 2:%f ms",(double)then);
	printf("\r\ndiff = %f ms\n\r", ((double) (then - now)));
	printf("\r\nElapsed: %f seconds\n", (double)(then - now) / 1000);		//convert milliseconds to seconds
	//printf("\r\nElapsed: %f seconds\n", (double)(then - now) / 0.09523);
	//toc = clock();
	//printf("\r\n%f",(double)tic);
	//printf("\r\n%f",(double)toc);
	//printf("\r\nElapsed: %f seconds\n", (double)(toc - tic) / CLOCKS_PER_SEC);
}

void write_all_zero_check(void)  	//writes zero to entire memory location
{
	//uint32_t *ptr = (uint32_t *)0x64000000;
  //uint32_t zero = 0x00000000;
	write_mode = 1;
	uint32_t ret_wert;
	uint16_t real_value = 0xFFFF;
	uint32_t now = HAL_GetTick();
	for(uint32_t adr = 0; adr < SRAM_SIZE; adr++)
  {
		//SRAM_Write_16b(start_adr, start_value);
		real_value = SRAM_Read_16b(adr);
		//*ptr = zero;
		//SRAM_Read_32b((uint32_t)ptr);
		if(real_value != zero && real_value != ones)
		{
			printf("%x - failed\r\n",adr+SRAM_BANK_ADDR);
		}
		ptr++;
  }
	uint32_t then = HAL_GetTick();
	printf("\r\ninterrupt 1:%f ms",(double)now);
	printf("\r\ninterrupt 2:%f ms",(double)then);
	printf("\r\ndiff = %f ms\n\r", ((double) (then - now)));
	printf("\r\nElapsed: %f seconds\n", (double)(then - now) / 1000);		//convert milliseconds to seconds

}

void write_all_ones(void)		//writes ones to entire memory location
{
	//uint32_t *ptr = (uint32_t *)0x64000000;
  //uint32_t ones = 0x11111111;
	//tic = clock();
	write_mode = 2;
	uint32_t now = HAL_GetTick();
	for(ptr=(uint32_t *)sram_start; ptr < (uint32_t *)sram_end; ptr++ )
  {
		*ptr = ones;
  }
	uint32_t then = HAL_GetTick();
	printf("\r\ninterrupt 1:%f ms",(double)now);
	printf("\r\ninterrupt 2:%f ms",(double)then);
	printf("\r\ndiff = %f ms\n\r", ((double) (then - now)));
	printf("\r\nElapsed: %f seconds\n", (double)(then - now) / 1000);		//convert milliseconds to seconds
	//printf("\r\nElapsed: %f seconds\n", (double)(then - now) / 0.09523);

//	toc = clock();
//	printf("\r\n%f",(double)tic);
//	printf("\r\n%f",(double)toc);
//	printf("\r\nElapsed: %f seconds\n", (double)(toc - tic) / 1000);
}

void write_all_12345678(void)		//writes 12345678 to entire memory location
{
	//uint32_t *ptr = (uint32_t *)0x64000000;
  //uint32_t write = 0x12345678;
	//tic = clock();
	write_mode = 3;
	uint32_t now = HAL_GetTick();
	for(ptr=(uint32_t *)sram_start; ptr < (uint32_t *)sram_end; ptr++ )
  {
		*ptr = write;

  }
	uint32_t then = HAL_GetTick();
	printf("\r\ninterrupt 1:%f ms",(double)now);
	printf("\r\ninterrupt 2:%f ms",(double)then);
	printf("\r\ndiff = %f ms\n\r", ((double) (then - now)));
	printf("\r\nElapsed: %f seconds\n", (double)(then - now) / 1000);		//convert milliseconds to seconds
	//printf("\r\nElapsed: %f seconds\n", (double)(then - now) / 0.09523);
	//toc = clock();

//	printf("\r\n%f",(double)tic);
//	printf("\r\n%f",(double)toc);
//	printf("\r\nElapsed: %f seconds\n", (double)(toc - tic) / 1000);
}

void sram_read(void)		//read entire sram and print in console
{
	counter = 0;
	int tabs = 0;
	write_mode = 4;
	uint32_t *ptr = (uint32_t *)0x64000000;
	//printf("%x:",SRAM_BANK_ADDR);
  for(uint32_t adr = 0; adr < SRAM_SIZE; adr=adr+4)
	{
		counter++;

		printf("%x:%x\r\n",adr+SRAM_BANK_ADDR,SRAM_Read_32b(adr));

//		if(tabs < 8)
//		{
//				printf("%x:%x\n\r",adr+SRAM_BANK_ADDR,SRAM_Read_32b(adr));
//				//printf("%x\t",SRAM_Read_32b(adr));
//				//printf("%x:%x\r\n",adr+SRAM_BANK_ADDR,SRAM_Read_16b(adr));
//				//printf("%x:%x\r\n",SRAM_Read_16b(adr),SRAM_Read_32b(adr));
//				//printf("%x:%x\r\n",adr+SRAM_BANK_ADDR,SRAM_Read_32b(adr));
//				tabs++;
//		}
//		else
//		{
//			//printf("\r\n");
//			//printf("\r\n%x:",adr+SRAM_BANK_ADDR);
//			printf("%x\t",SRAM_Read_32b(adr));
//			tabs = 1;
//		}

//		if(tabs < 8)
//		{
//				//printf("%x:%x\n\r",adr+SRAM_BANK_ADDR,SRAM_Read_32b(adr));
//				printf("%x\t",SRAM_Read_32b(adr));
//				//printf("%x:%x\r\n",adr+SRAM_BANK_ADDR,SRAM_Read_16b(adr));
//				//printf("%x:%x\r\n",SRAM_Read_16b(adr),SRAM_Read_32b(adr));
//				//printf("%x:%x\r\n",adr+SRAM_BANK_ADDR,SRAM_Read_32b(adr));
//				tabs++;
//		}
//		else
//		{
//			printf("\r\n");
//			//printf("\r\n%x:",adr+SRAM_BANK_ADDR);
//			printf("%x\t",SRAM_Read_32b(adr));
//			tabs = 1;
//		}

  }

}

void sram_read_old(void)		//read entire sram and print in console
{
	counter = 0;
	write_mode = 4;
	//tic = clock();
	//uint32_t now = HAL_GetTick();
	uint32_t *ptr = (uint32_t *)0x64000000;
	//uint16_t *ptr1 = (uint16_t *)0x64000000;
	for(ptr=(uint32_t *)sram_start; ptr < (uint32_t *)sram_end; ptr++ )
  //for(uint32_t adr = 0; adr < SRAM_SIZE; adr++)
	{
		counter++;
		//printf("%p:%d:%p\n",(void*)&ptr,(void*)*ptr,start);
		//printf("%p:%x\r\n",adr+SRAM_BANK_ADDR,SRAM_Read_16b(adr));
		//printf("%x:%x\r\n",SRAM_Read_16b(adr),SRAM_Read_32b(adr));
		//printf("%x:%x\r\n",adr+SRAM_BANK_ADDR,SRAM_Read_32b(adr));
    //printf("%p:%x\r\n",ptr,*ptr);
		printf("%p:%x\r\n",ptr,*ptr);
		//printf("%4x\r\n",*ptr);
    //printf("%x\r\n",*ptr);
		//HAL_Delay(500);

  }
	//uint32_t then = HAL_GetTick();
	//printf("\r\ninterrupt 1:%f ms",(double)now);
	//printf("\r\ninterrupt 2:%f ms",(double)then);
	//printf("\r\ndiff = %f ms\n\r", ((double) (then - now)));
	//printf("\r\nElapsed: %f seconds\n", (double)(then - now) / 1000);		//convert milliseconds to seconds
	//printf("\r\nElapsed: %f seconds\n", (double)(then - now) / 0.09523);

//	toc = clock();
//	printf("\r\n%f",(double)tic);
//	printf("\r\n%f",(double)toc);
//	printf("\r\nElapsed: %f seconds\n", (double)(toc - tic) / CLOCKS_PER_SEC);
}

void sram_read_1(void)		//read entire sram with delay and print in console
{
	counter = 0;
	write_mode = 5;
	uint32_t value;
	uint32_t now = HAL_GetTick();
	//tic = clock();
	printf("delay start\n\r");
	HAL_Delay(5000);
	printf("delay end\n\r");
	//uint32_t *ptr = (uint32_t *)0x64000000;
	for(ptr=(uint32_t *)sram_start; ptr < (uint32_t *)sram_end; ptr++ )
  {
		counter++;
		value=*ptr;
		//value = SRAM_Read_32b(ptr)
		//printf("%p:%d:%p\n",(void*)&ptr,(void*)*ptr,start);
    //printf("%p:%x\r\n",ptr,*ptr);
    //printf("%x\n",*ptr);
		//HAL_Delay(500);

  }
	uint32_t then = HAL_GetTick();
	printf("\r\ninterrupt 1:%f ms",(double)now);
	printf("\r\ninterrupt 2:%f ms",(double)then);
	printf("\r\ndiff = %f ms\n\r", ((double) (then - now)));
	printf("\r\nElapsed: %f seconds\n", (double)(then - now) / 1000);  //convert milliseconds to seconds
	//printf("\r\nElapsed: %f seconds\n", (double)(then - now) / 0.09523);
	//toc = clock();

	//uint32_t now = __HAL_TIM_GET_COUNTER(&htim2);
	//uint32_t then = __HAL_TIM_GET_COUNTER(&htim2);
	//printf("start = %.20f\n\rend   = %.20f\n\r", (double)tic, (double)toc);
  //printf("delta = %.20f\n\r", ((double) (toc - tic)));
  //printf("cpu_time_used  = %.15f seconds\n\r", (double)(toc - tic) / CLOCKS_PER_SEC);
  //printf("CLOCKS_PER_SEC = %i\n\n\r", CLOCKS_PER_SEC);

	//printf("\r\n%f",(double)tic);
	//printf("\r\n%f",(double)toc);
	//printf("\r\nElapsed: %f seconds\n", (double)(toc - tic) / CLOCKS_PER_SEC);
}

void SRAM_Write_32b(uint32_t adr, uint32_t value){
	// multiply address by 2 due to 2-byte-access (address is given as one byte)
	adr = adr << 1;

	*(__IO uint32_t *) (sram_start + adr) = value;
}

void SRAM_Write_16b(uint32_t adr, uint16_t value){
	// multiply address by 2 due to 2-byte-access (address is given as one byte)
	adr = adr << 1;

	*(__IO uint16_t *) (sram_start + adr) = value;
}

uint16_t SRAM_Read_16b(uint32_t adr){
	// initialize the return value
	uint16_t ret_wert = 0;
	// multiply address by 2 due to 2-byte-access (address is given as one byte)
	adr = adr << 1;

	ret_wert = *(__IO uint16_t *) (sram_start + adr);

	return (ret_wert);
}

uint32_t SRAM_Read_32b(uint32_t adr){
	// initialize the return value
	uint32_t ret_wert = 0;
	// multiply address by 2 due to 2-byte-access (address is given as one byte)
	adr = adr << 1;

	//ret_wert = *(__IO uint32_t *) (sram_start + adr);
	ret_wert = *(__IO uint32_t *) (sram_start + adr);

	return (ret_wert);
}

/*
 * @brief								fills the whole SRAM with 0's
 * @param UART_HandleTypeDef huart*		the UART handler to communicate with the user
 */

void SRAM_Fill_With_Zeros(){
	write_mode = 0x1;
	// reset the counter for statistical analysis
	init_counter();
	// reset the arguments
	init_arguments();

	uint16_t real_value = 0xFFFF;
	//uint32_t real_value_32 = 0xFFFFFFFF;
	TestStatus state = PASSED;
	for(uint32_t adr = 0; adr < SRAM_SIZE; adr++){
		SRAM_Write_16b(adr, 0x0);
		real_value = SRAM_Read_16b(adr);
		// test, if the written value equals the expected value
		// if something went wrong, break here and display an error message
		if(real_value != 0x0){
			state = FAILED;
			break;
		}
	}
	//SRAM_Write_16b(0x0, 0x0001);
	// display return message
	/*
	if(state == PASSED){
		sprintf(STRING_BUFFER, "'writeZeroAll' was successful\r\n\n");
	}else{
		sprintf(STRING_BUFFER, "'writeZeroAll' failed\r\n\n");
	}
	*/
	printf("\n\r--------End of write zero--------\n\r");

}

void SRAM_check(){
	uint16_t real_value = 0xFFFF;
	TestStatus state = PASSED;
	for(uint32_t adr = sram_start; adr < sram_end; adr++){
		real_value = SRAM_Read_16b(adr);
		// test, if the written value equals the expected value
		// if something went wrong, break here and display an error message
		if(real_value != 0x0){
			//print();

		}}}

/*
 * @brief								fills the whole SRAM with 1's
 * @param UART_HandleTypeDef huart*		the UART handler to communicate with the user
 */
void SRAM_Fill_With_Ones(){
	// reset the counter for statistical analysis
	init_counter();
	// reset the arguments
	init_arguments();

	uint16_t real_value = 0x0;
	TestStatus state = PASSED;
	for(uint32_t adr = 0; adr < SRAM_SIZE; adr++){
		SRAM_Write_16b(adr, 0xFFFF);
		real_value = SRAM_Read_16b(adr);
		// test, if the written value equals the expected value
		// if something went wrong, break here and display an error message
		if(real_value != 0xFFFF){
			state = FAILED;
			break;
		}
	}
	// display return message
	/*
	if(state == PASSED){
		sprintf(STRING_BUFFER, "'writeOneAll' was successful\r\n\n");
	}else{
		sprintf(STRING_BUFFER, "'writeOneAll' failed\r\n\n");
	}
	*/
	printf("\n\r--------End of write ones--------\n\r");

}

void SRAM_Get_Values(){
	total_one = 0;
	total_zero = 0;
	for(uint32_t adr = 0; adr < SRAM_SIZE; adr++){
		uint16_t real_value;
		real_value = SRAM_Read_16b(adr);
		total_one += get_num_one_16b(real_value);
		total_zero += get_num_zero_16b(real_value);
	}

	// displays the total 1's
	printf("\nTotal number of ones in SRAM:  %lu\r\n", (unsigned long)total_one);

	// displays the total 0's
	printf("Total number of zeros in SRAM:  %lu\r\n", (unsigned long)total_zero);

	// displays the total 0's
	printf("Percent zeros:  %.3f%%\r\n", (float)total_zero / (SRAM_SIZE * 16) * 100);

	// displays the total 0's
	printf("Percent ones:  %.3f%%\r\n", (float)total_one / (SRAM_SIZE * 16) * 100);

}

uint16_t flipped_one_16b(uint16_t expected_value, uint16_t real_value){
	uint16_t flipped = expected_value ^ real_value;
	flipped = expected_value & flipped;

	return hamming_weight_16b(flipped);
}

uint16_t flipped_zero_16b(uint16_t expected_value, uint16_t real_value){
	uint16_t flipped = expected_value ^ real_value;
	flipped = flipped & real_value;

	return hamming_weight_16b(flipped);
}

uint16_t get_num_one_16b(uint16_t bitstring){
	return hamming_weight_16b(bitstring);
}

uint16_t get_num_zero_16b(uint16_t bitstring){
	return (16 - hamming_weight_16b(bitstring));
}

uint16_t get_total_flip_probability_16b(uint16_t expected_value, uint16_t real_value){
	uint16_t bitstring = expected_value ^ real_value;

	return (hamming_weight_16b(bitstring));
}

uint16_t hamming_weight_16b(uint16_t bitstring){
	uint16_t result;
	result = bitstring;
	uint16_t a = (result >> 0) & 0x5555;
	uint16_t b = (result >> 1) & 0x5555;
	result = a + b;
	a = (result >> 0) & 0x3333;
	b = (result >> 2) & 0x3333;
	result = a + b;
	a = (result >> 0) & 0x0F0F;
	b = (result >> 4) & 0x0F0F;
	result = a + b;
	a = (result >> 0) & 0x00FF;
	b = (result >> 8) & 0x00FF;
	result = a + b;

	return result;
}

void SRAM_Get_Performance_Measures(){
	// if no write access was performed => warning
	if(write_mode == 0xFF){
		printf("Caution. No write operation was performed. Therefore we have no values to compare with...\r\nExit\r\n\n");

		return;
	}

	// reset the counter for statistical analysis

	init_counter();

//	total_one = 0;
//	total_zero = 0;
//	flipped_one = 0;
//	flipped_zero = 0;

	uint32_t expected_value;
	uint32_t start_local = 0;
	//uint32_t SRAM_SIZE = (uint32_t)sram_end - (uint32_t)sram_start;
	uint32_t end_local = SRAM_SIZE;

	// switch between the different command modes to set the correct values to compare with

	switch(write_mode){
	case 1:
		// writeZeroAll
		expected_value = 0x0000000;
		break;
	case 2:
		// writeOneAll
		expected_value = 0xFFFFFFFF;
		break;
	case 3:
		// writeOneAll
		expected_value = 0x12345678;
		break;
	case 4:
		// writeSRAM
		expected_value = start_value;
		start_local = sram_start;
		end_local = sram_start;
		break;
	case 5:
		// writeSRAM
		expected_value = start_value;
		start_local = sram_start;
		end_local = sram_start;
		break;
	}
//	switch(write_mode){
//	case 1:
//		// writeZeroAll
//		expected_value = 0x0;
//		break;
//	case 2:
//		// writeOneAll
//		expected_value = 0xFFFF;
//		break;
//	case 3:
//		// writeValueAsc
//		expected_value = start_value;
//		break;
//	case 4:
//		// writeAlternateZeroOne
//		expected_value = 0x5555;
//		break;
//	case 5:
//		// writeAlternateOneZero
//		expected_value = 0xAAAA;
//		break;
//	case 6:
//		// writeSRAM
//		expected_value = start_value;
//		start_local = start_adr;
//		end_local = end_adr;
//		break;
//	case 7:
//		// writeSRAMRange
//		expected_value = start_value;
//		start_local = start_adr;
//		end_local = end_adr;
//		break;
//	}
	//expected_value = 0x00FF;
	printf("Expected value : %x\r\n",expected_value);
	for(uint32_t adr = start_local; adr < end_local; adr++){
		uint16_t real_value;
		real_value = SRAM_Read_16b(adr);
		flipped_one += flipped_one_16b(expected_value, real_value);
		flipped_zero += flipped_zero_16b(expected_value, real_value);
		total_one += get_num_one_16b(expected_value);
		total_zero += get_num_zero_16b(expected_value);
		// if 'writeValueAsc' increment the expected_value
		if(write_mode == 3){
			expected_value++;
		}
	}

	// prevent division by zero
	if(total_one == 0){
		printf( "P(1->0) = NaN\r\n");

	}else{
		// displays the probability that a 1 changes to a 0
		float p_one_to_zero = ((float)flipped_one / (float)total_one) * 100;
		printf( "P(1->0) = %.16f%%\r\n", p_one_to_zero);

	}

	if(total_zero == 0){
		printf( "P(0->1) = NaN\r\n");

	}else{
		// displays the probability that a 0 changes to a 1
		float p_zero_to_one = ((float)flipped_zero / (float)total_zero) * 100;
		printf( "P(0->1) = %.16f%%\r\n", p_zero_to_one);

	}
	float p_total_flip_probability = ((float)(flipped_one + flipped_zero) / (float)(total_one + total_zero)) * 100;

	// displays the total flip probability
	printf( "P(flip) = %.16f%%\r\n", p_total_flip_probability);

	// displays the total flip 1's
	printf( "Total number of flipped 1->0:  %lu\r\n", (unsigned long)flipped_one);

	// displays the total 1's
	printf( "Total number of ones in expected value:  %lu\r\n", (unsigned long)total_one);

	// displays the total flip 0's
	printf( "Total number of flipped 0->1:  %lu\r\n", (unsigned long)flipped_zero);

	// displays the total 0's
	printf( "Total number of zeros in expected value:  %lu\r\n", (unsigned long)total_zero);

	// displays the total flipped bits
	printf( "Total number of flipped bits:  %lu\r\n\n", (unsigned long)(flipped_one + flipped_zero));

	/*
	//sprintf(STRING_BUFFER, "total_one = %lu\r\n\n", (unsigned long)total_one);
	sprintf(STRING_BUFFER, "write_mode = %d\r\n\n", write_mode);
	len = strlen(STRING_BUFFER);
	send(huart, (uint8_t *)STRING_BUFFER, len);
	 */

}

//void SRAM_Get_Values(UART_HandleTypeDef *huart){
//	total_one = 0;
//	total_zero = 0;
//	uint32_t SRAM_SIZE = (uint32_t)sram_end - (uint32_t)sram_start;
//	for(uint32_t adr = 0; adr < SRAM_SIZE; adr++){
//		uint16_t real_value;
//		real_value = SRAM_Read_16b(adr);
//		total_one += get_num_one_16b(real_value);
//		total_zero += get_num_zero_16b(real_value);
//	}

//	// displays the total 1's
//	printf( "Total number of ones in SRAM:  %lu\r\n", (unsigned long)total_one);
//
//	// displays the total 0's
//	printf( "Total number of zeros in SRAM:  %lu\r\n", (unsigned long)total_zero);
//
//	// displays the total 0's
//	printf( "Percent zeros:  %.16f%%\r\n", (float)total_zero / (SRAM_SIZE * 16) * 100);
//
//	// displays the total 0's
//	printf( "Percent ones:  %.16f%%\r\n", (float)total_one / (SRAM_SIZE * 16) * 100);
//
//}

/*
 * @brief							resets the counters for statistical analysis
 */
void init_counter(){
	total_one = 0;
	total_zero = 0;
	flipped_one = 0;
	flipped_zero = 0;
}

/*
 * @brief							resets the custom start/end addresses and the custom start value
 * 									these variables are set in a write method
 */
void init_arguments(){
	start_adr = 0;
	end_adr = 0;
	start_value = 0;
}

/* USER CODE END 4 */

void Error_Handler(void)
{
}

/************************ (C) COPYRIGHT STMicroelectronics *****END OF FILE****/
